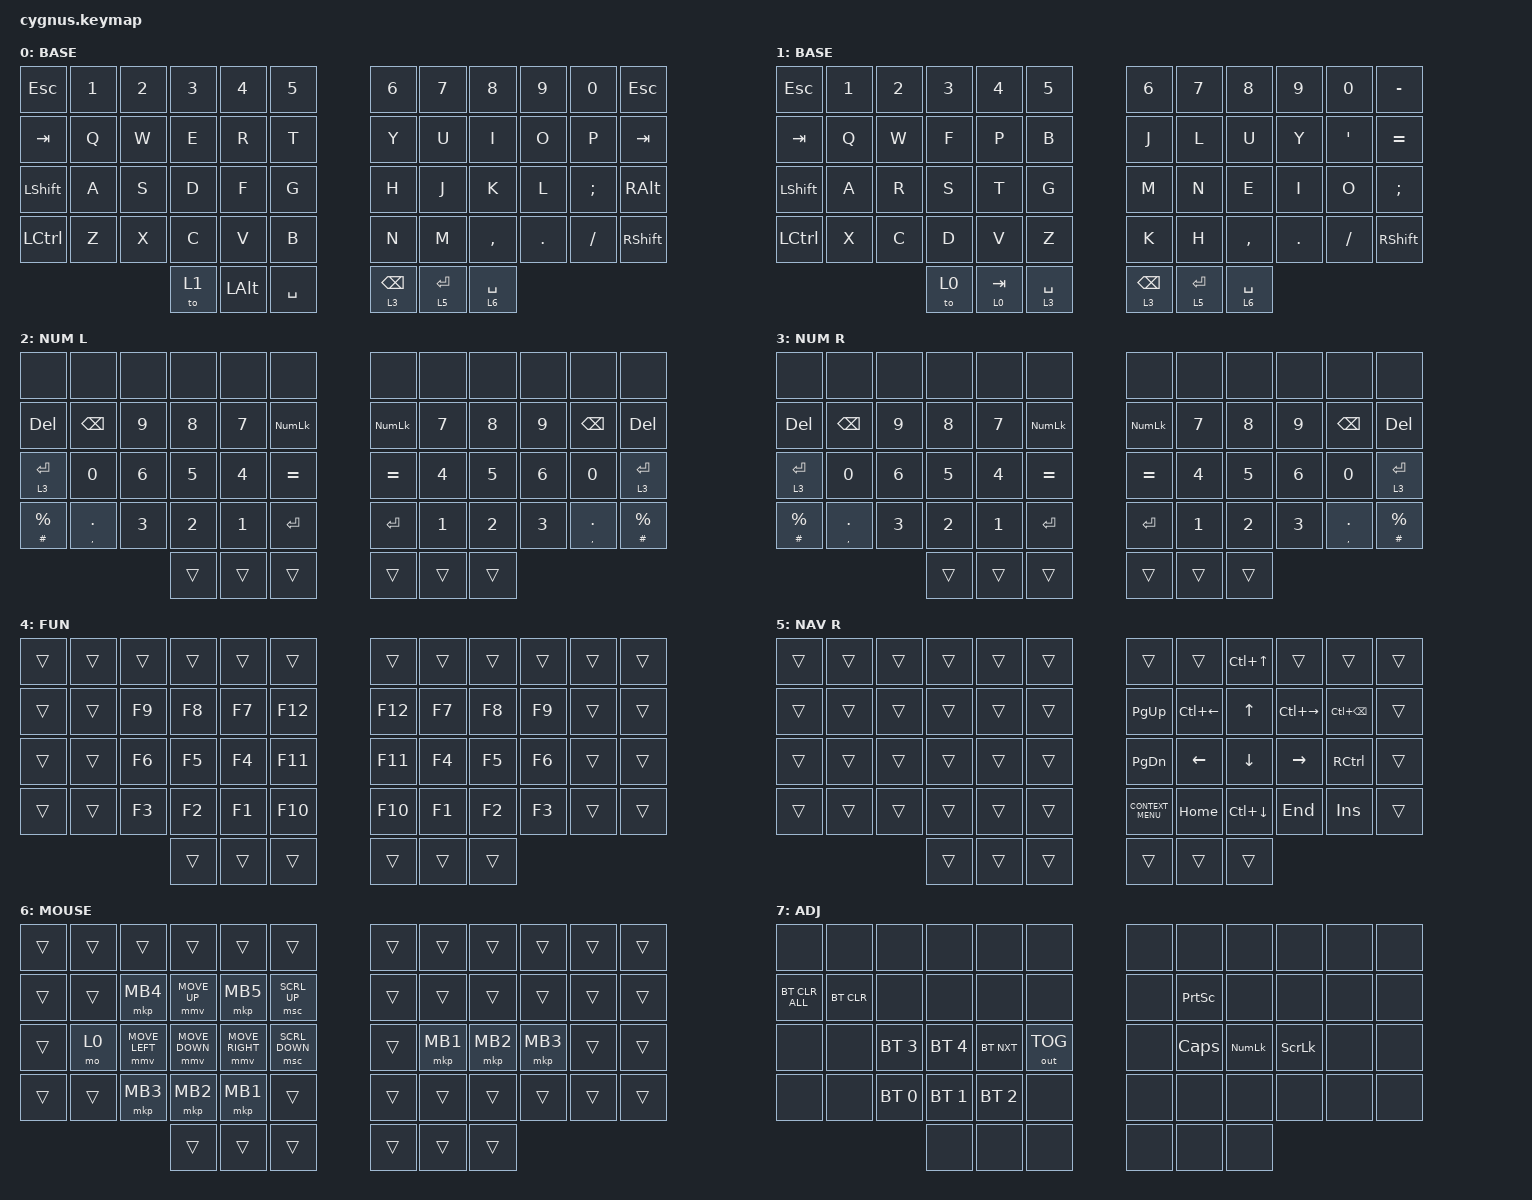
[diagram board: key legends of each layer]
/*
 * Copyright (c) 2020 The ZMK Contributors
 *
 * SPDX-License-Identifier: MIT
 */

#include <dt-bindings/zmk/mouse.h>

#define ZMK_POINTING_DEFAULT_MOVE_VAL 1000  // default: 600
#define ZMK_POINTING_DEFAULT_SCRL_VAL 20    // default: 10

#include <behaviors.dtsi>
#include <dt-bindings/zmk/bt.h>
#include <dt-bindings/zmk/keys.h>
#include <dt-bindings/zmk/outputs.h>
#include <dt-bindings/zmk/pointing.h>

// #include <input/processors.dtsi>

/ {
    behaviors {
        hml: homerow_mods_left {
            compatible = "zmk,behavior-hold-tap";
            label = "HOMEROW_MODS_LEFT";
            bindings = <&kp>, <&kp>;

            #binding-cells = <2>;
            tapping-term-ms = <150>;
            flavor = "tap-preferred";
            hold-trigger-key-positions = <6 7 8 9 10 11 18 19 20 21 22 23 30 31 32 33 34 35 42 43 44 45 46 47 51 52 53 48 49 50>;
        };

        hmr: homerow_mods_right {
            compatible = "zmk,behavior-hold-tap";
            label = "HOMEROW_MODS_RIGHT";
            bindings = <&kp>, <&kp>;

            #binding-cells = <2>;
            tapping-term-ms = <150>;
            flavor = "tap-preferred";
            hold-trigger-key-positions = <0 1 2 3 4 5 12 13 14 15 16 17 24 25 26 27 28 29 36 37 38 39 40 41 48 49 50 51 52 53>;
        };

        layer_tap_quick: layer_tap_quick {
            compatible = "zmk,behavior-hold-tap";
            label = "LAYER_TAP_QUICK";
            bindings = <&mo>, <&kp>;

            #binding-cells = <2>;
            tapping-term-ms = <200>;
            flavor = "tap-preferred";
            quick-tap-ms = <200>;
        };

        qexcl: qexcl {
            compatible = "zmk,behavior-mod-morph";
            label = "QEXCL";
            bindings = <&kp QUESTION>, <&kp EXCL>;

            #binding-cells = <0>;
            mods = <(MOD_LSFT|MOD_RSFT)>;
        };

        comma_morph: comma_morph {
            compatible = "zmk,behavior-mod-morph";
            label = "COMMA_MORPH";
            bindings = <&kp COMMA>, <&kp SEMI>;

            #binding-cells = <0>;
            mods = <(MOD_LSFT|MOD_RSFT)>;
        };

        dot_morph: dot_morph {
            compatible = "zmk,behavior-mod-morph";
            label = "DOT_MORPH";
            bindings = <&kp DOT>, <&kp COLON>;

            #binding-cells = <0>;
            mods = <(MOD_LSFT|MOD_RSFT)>;
        };

        lpar_morph: lpar_morph {
            compatible = "zmk,behavior-mod-morph";
            label = "LPAR_MORPH";
            bindings = <&kp LEFT_PARENTHESIS>, <&kp LT>;

            #binding-cells = <0>;
            mods = <(MOD_LSFT|MOD_RSFT)>;
        };

        rpar_morph: rpar_morph {
            compatible = "zmk,behavior-mod-morph";
            label = "RPAR_MORPH";
            bindings = <&kp RIGHT_PARENTHESIS>, <&kp GT>;

            #binding-cells = <0>;
            mods = <(MOD_LSFT|MOD_RSFT)>;
        };

        homerow_gui_left: homerow_gui_left {
            compatible = "zmk,behavior-hold-tap";
            label = "HOMEROW_GUI_LEFT";
            bindings = <&kp>, <&kp>;

            #binding-cells = <2>;
            tapping-term-ms = <280>;
            require-prior-idle-ms = <150>;
            flavor = "tap-preferred";
            hold-trigger-key-positions = <6 7 8 9 10 11 18 19 20 21 22 23 30 31 32 33 34 35 42 43 44 45 46 47 51 52 53>;
        };

        homerow_gui_right: homerow_gui_right {
            compatible = "zmk,behavior-hold-tap";
            label = "HOMEROW_GUI_RIGHT";
            bindings = <&kp>, <&kp>;

            #binding-cells = <2>;
            tapping-term-ms = <280>;
            require-prior-idle-ms = <150>;
            flavor = "tap-preferred";
            hold-trigger-key-positions = <0 1 2 3 4 5 12 13 14 15 16 17 24 25 26 27 28 29 36 37 38 39 40 41 48 49 50>;
        };
    };

    combos {
        compatible = "zmk,combos";

        left-num-plus {
            bindings = <&kp PLUS>;
            key-positions = <16 28>;
            layers = <3>;
        };

        left-num-minus {
            bindings = <&kp MINUS>;
            key-positions = <28 40>;
            layers = <3>;
        };

        left-num-multiply {
            bindings = <&kp STAR>;
            key-positions = <15 27>;
            layers = <3>;
        };

        left-num-divide {
            bindings = <&kp SLASH>;
            key-positions = <27 39>;
            layers = <3>;
        };

        left-num-dollar {
            bindings = <&kp DOLLAR>;
            key-positions = <17 29>;
            layers = <3>;
        };

        left-num-underscore {
            bindings = <&kp UNDER>;
            key-positions = <29 41>;
            layers = <3>;
        };

        right-num-dollar {
            bindings = <&kp DOLLAR>;
            key-positions = <18 30>;
            layers = <3>;
        };

        right-num-underscore {
            bindings = <&kp UNDER>;
            key-positions = <30 42>;
            layers = <3>;
        };

        dollar {
            bindings = <&kp DOLLAR>;
            key-positions = <16 28>;
        };

        percent {
            bindings = <&kp PERCENT>;
            key-positions = <17 29>;
        };

        underscore {
            bindings = <&kp UNDER>;
            key-positions = <30 42>;
        };

        caret {
            bindings = <&kp CARET>;
            key-positions = <18 30>;
        };

        tilde {
            bindings = <&kp TILDE>;
            key-positions = <41 29>;
        };

        equal {
            bindings = <&kp EQUAL>;
            key-positions = <40 28>;
        };

        backslash {
            bindings = <&kp BACKSLASH>;
            key-positions = <39 27>;
        };

        pound {
            bindings = <&kp POUND>;
            key-positions = <27 15>;
        };

        at {
            bindings = <&kp AT>;
            key-positions = <14 26>;
        };

        grave {
            bindings = <&kp GRAVE>;
            key-positions = <26 38>;
        };

        plus {
            bindings = <&kp PLUS>;
            key-positions = <31 19>;
        };

        minus {
            bindings = <&kp MINUS>;
            key-positions = <31 43>;
        };

        star {
            bindings = <&kp STAR>;
            key-positions = <32 20>;
        };

        forwardslash {
            bindings = <&kp SLASH>;
            key-positions = <32 44>;
        };

        ampersand {
            bindings = <&kp AMPS>;
            key-positions = <21 33>;
        };

        pipe {
            bindings = <&kp PIPE>;
            key-positions = <45 33>;
        };

        left_parenthesis {
            bindings = <&lpar_morph>;
            key-positions = <32 31>;
        };

        right_parenthesis {
            bindings = <&rpar_morph>;
            key-positions = <33 32>;
        };

        left_bracket {
            bindings = <&kp LEFT_BRACKET>;
            key-positions = <44 43>;
        };

        right_bracket {
            bindings = <&kp RIGHT_BRACKET>;
            key-positions = <44 45>;
        };

        ctrl-alt-del {
            bindings = <&kp LC(LA(DEL))>;
            key-positions = <14 15 16>;
        };

        ctrl-shift-s {
            bindings = <&kp LC(LS(S))>;
            key-positions = <16 15>;
            require-prior-idle-ms = <280>;
        };

        shift-win-s {
            bindings = <&kp LS(LG(S))>;
            key-positions = <15 14>;
            require-prior-idle-ms = <280>;
        };

        left-enter {
            bindings = <&kp ENTER>;
            key-positions = <41 50>;
        };

        right-enter {
            bindings = <&kp ENTER>;
            key-positions = <42 51>;
        };

        right-calc {
            bindings = <&kp C_AL_CALC>;
            key-positions = <31 32 33>;
            layers = <3>;
        };

        left-calc {
            bindings = <&kp C_AL_CALC>;
            key-positions = <26 27 28>;
            layers = <3>;
        };

        left-lock {
            bindings = <&kp LG(L)>;
            key-positions = <40 39 38 37>;
        };

        right-lock {
            bindings = <&kp RG(L)>;
            key-positions = <43 44 45 46>;
        };
    };

    keymap {
        compatible = "zmk,keymap";

        QWER_layer {
            display-name = "BASE";
            bindings = <
&kp ESCAPE        &kp N1  &kp N2  &kp N3  &kp N4        &kp N5       &kp N6                        &kp N7       &kp N8       &kp N9      &kp N0         &kp ESCAPE
&kp TAB           &kp Q   &kp W   &kp E   &kp R         &kp T        &kp Y                         &kp U        &kp I        &kp O       &kp P          &kp TAB
&kp LEFT_SHIFT    &kp A   &kp S   &kp D   &kp F         &kp G        &kp H                         &kp J        &kp K        &kp L       &kp SEMICOLON  &kp RIGHT_ALT
&kp LEFT_CONTROL  &kp Z   &kp X   &kp C   &kp V         &kp B        &kp N                         &kp M        &kp COMMA    &kp PERIOD  &kp SLASH      &kp RIGHT_SHIFT
                                  &to 1   &kp LEFT_ALT  &kp SPACE    &layer_tap_quick 3 BACKSPACE  &lt 5 ENTER  &lt 6 SPACE
            >;
        };

        Colemak-dh_layout {
            display-name = "BASE";
            bindings = <
&kp ESCAPE        &kp N1  &kp N2  &kp N3  &kp N4     &kp N5         &kp N6                        &kp N7       &kp N8       &kp N9      &kp N0     &kp MINUS
&kp TAB           &kp Q   &kp W   &kp F   &kp P      &kp B          &kp J                         &kp L        &kp U        &kp Y       &kp SQT    &kp EQUAL
&kp LEFT_SHIFT    &kp A   &kp R   &kp S   &kp T      &kp G          &kp M                         &kp N        &kp E        &kp I       &kp O      &kp SEMICOLON
&kp LEFT_CONTROL  &kp X   &kp C   &kp D   &kp V      &kp Z          &kp K                         &kp H        &kp COMMA    &kp PERIOD  &kp SLASH  &kp RIGHT_SHIFT
                                  &to 0   &lt 0 TAB  &lt 3 SPACE    &layer_tap_quick 3 BACKSPACE  &lt 5 ENTER  &lt 6 SPACE
            >;
        };

        num_layer_left {
            display-name = "NUM L";
            bindings = <
&none              &none             &none   &none   &none   &none             &none           &none   &none   &none   &none             &none
&kp DELETE         &kp BACKSPACE     &kp N9  &kp N8  &kp N7  &kp KP_NUMLOCK    &kp KP_NUMLOCK  &kp N7  &kp N8  &kp N9  &kp BACKSPACE     &kp DELETE
&lt 3 ENTER        &kp N0            &kp N6  &kp N5  &kp N4  &kp EQUAL         &kp EQUAL       &kp N4  &kp N5  &kp N6  &kp N0            &lt 3 ENTER
&mt POUND PERCENT  &mt COMMA PERIOD  &kp N3  &kp N2  &kp N1  &kp ENTER         &kp ENTER       &kp N1  &kp N2  &kp N3  &mt COMMA PERIOD  &mt HASH PERCENT
                                             &trans  &trans  &trans            &trans          &trans  &trans
            >;
        };

        num_layer_right {
            display-name = "NUM R";
            bindings = <
&none              &none             &none   &none   &none   &none             &none           &none   &none   &none   &none             &none
&kp DELETE         &kp BACKSPACE     &kp N9  &kp N8  &kp N7  &kp KP_NUMLOCK    &kp KP_NUMLOCK  &kp N7  &kp N8  &kp N9  &kp BACKSPACE     &kp DELETE
&lt 3 ENTER        &kp N0            &kp N6  &kp N5  &kp N4  &kp EQUAL         &kp EQUAL       &kp N4  &kp N5  &kp N6  &kp N0            &lt 3 ENTER
&mt POUND PERCENT  &mt COMMA PERIOD  &kp N3  &kp N2  &kp N1  &kp ENTER         &kp ENTER       &kp N1  &kp N2  &kp N3  &mt COMMA PERIOD  &mt HASH PERCENT
                                             &trans  &trans  &trans            &trans          &trans  &trans
            >;
        };

        f_layer {
            display-name = "FUN";
            bindings = <
&trans  &trans  &trans  &trans  &trans  &trans     &trans   &trans  &trans  &trans  &trans  &trans
&trans  &trans  &kp F9  &kp F8  &kp F7  &kp F12    &kp F12  &kp F7  &kp F8  &kp F9  &trans  &trans
&trans  &trans  &kp F6  &kp F5  &kp F4  &kp F11    &kp F11  &kp F4  &kp F5  &kp F6  &trans  &trans
&trans  &trans  &kp F3  &kp F2  &kp F1  &kp F10    &kp F10  &kp F1  &kp F2  &kp F3  &trans  &trans
                        &trans  &trans  &trans     &trans   &trans  &trans
            >;
        };

        nav_layer_right {
            display-name = "NAV R";
            bindings = <
&trans  &trans  &trans  &trans  &trans  &trans    &trans              &trans        &kp LC(UP_ARROW)  &trans         &trans        &trans
&trans  &trans  &trans  &trans  &trans  &trans    &kp PG_UP           &kp LC(LEFT)  &kp UP            &kp LC(RIGHT)  &kp LC(BSPC)  &trans
&trans  &trans  &trans  &trans  &trans  &trans    &kp PAGE_DOWN       &kp LEFT      &kp DOWN          &kp RIGHT      &kp RCTRL     &trans
&trans  &trans  &trans  &trans  &trans  &trans    &kp K_CONTEXT_MENU  &kp HOME      &kp LC(DOWN)      &kp END        &kp INSERT    &trans
                        &trans  &trans  &trans    &trans              &trans        &trans
            >;
        };

        mouse_layer {
            display-name = "MOUSE";
            bindings = <
&trans  &trans  &trans          &trans          &trans           &trans            &trans  &trans    &trans    &trans    &trans  &trans
&trans  &trans  &mkp MB4        &mmv MOVE_UP    &mkp MB5         &msc SCRL_UP      &trans  &trans    &trans    &trans    &trans  &trans
&trans  &mo 0   &mmv MOVE_LEFT  &mmv MOVE_DOWN  &mmv MOVE_RIGHT  &msc SCRL_DOWN    &trans  &mkp MB1  &mkp MB2  &mkp MB3  &trans  &trans
&trans  &trans  &mkp MB3        &mkp MB2        &mkp MB1         &trans            &trans  &trans    &trans    &trans    &trans  &trans
                                &trans          &trans           &trans            &trans  &trans    &trans
            >;
        };

        adjust_layer {
            display-name = "ADJ";

            // -----------------------------------------------------------------------------------------
            // |      |     |     |     |     |     |   |     |      |     |     |     |     |
            // |  TAB |  1  |  2  |  3  |  4  |  5  |   |  6  |  7  |  8  |  9  |  0  | BKSP |
            // | BTCLR| BT1 | BT2 | BT3 | BT4 | BT5 |   | LFT | DWN |  UP | RGT |     |      |
            // | SHFT |     |     |     |     |     |   |     |     |     |     |     |      |
            //                    | GUI |     | SPC |   | ENT |     | ALT |

            bindings = <
&none           &none       &none         &none         &none         &none           &none  &none            &none           &none           &none  &none
&bt BT_CLR_ALL  &bt BT_CLR  &none         &none         &none         &none           &none  &kp PRINTSCREEN  &none           &none           &none  &none
&none           &none       &bt BT_SEL 3  &bt BT_SEL 4  &bt BT_NXT    &out OUT_TOG    &none  &kp CLCK         &kp KP_NUMLOCK  &kp SCROLLLOCK  &none  &none
&none           &none       &bt BT_SEL 0  &bt BT_SEL 1  &bt BT_SEL 2  &none           &none  &none            &none           &none           &none  &none
                                          &none         &none         &none           &none  &none            &none
            >;
        };
    };

    conditional_layers {
        compatible = "zmk,conditional-layers";

        nav_adj {
            if-layers = <5 5>;
            then-layer = <7>;
        };

        f_layer {
            if-layers = <3 3>;
            then-layer = <4>;
        };
    };
};
